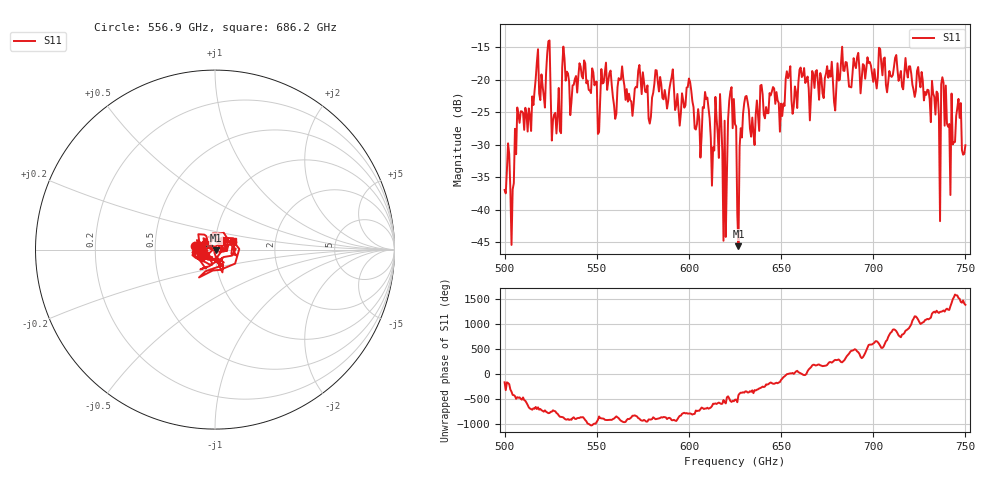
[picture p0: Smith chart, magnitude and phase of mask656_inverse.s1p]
!Created with skrf (http://scikit-rf.org).
# GHz S MA R 50.0
!freq magS11 angS11
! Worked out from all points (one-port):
!   401 points, 500 GHz to 750 GHz, reference 50 ohm
!   lowest |S11| = -45.6 dB at 626.9 GHz (marker M1), VSWR 1.01, Z = 50.3 - j0.439 ohm
!   |S11| at or under -10 dB: start of sweep to end of sweep
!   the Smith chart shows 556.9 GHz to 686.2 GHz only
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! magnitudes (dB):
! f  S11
! 500 GHz  -37.0
! 503.8 GHz  -45.4
! 508.1 GHz  -26.6
! 513.1 GHz  -24.4
! 517.5 GHz  -17.3
! 523.8 GHz  -14.1
! 526.9 GHz  -25.4
! 531.2 GHz  -18.0
! 562.5 GHz  -20.0
! 593.8 GHz  -22.2
! 605.6 GHz  -26.1
! 609.4 GHz  -23.0
! 612.5 GHz  -36.3
! 616.2 GHz  -32.0
! 619.4 GHz  -26.3
! 622.5 GHz  -21.8
! 625 GHz  -26.8
! 626.9 GHz  -45.6
! 630.6 GHz  -22.6
! 634.4 GHz  -25.8
! 656.2 GHz  -25.3
! 687.5 GHz  -21.1
! 718.8 GHz  -19.7
! 735 GHz  -22.1
! 738.1 GHz  -20.4
! 743.1 GHz  -30.0
! 746.2 GHz  -23.0
! 750 GHz  -30.1
